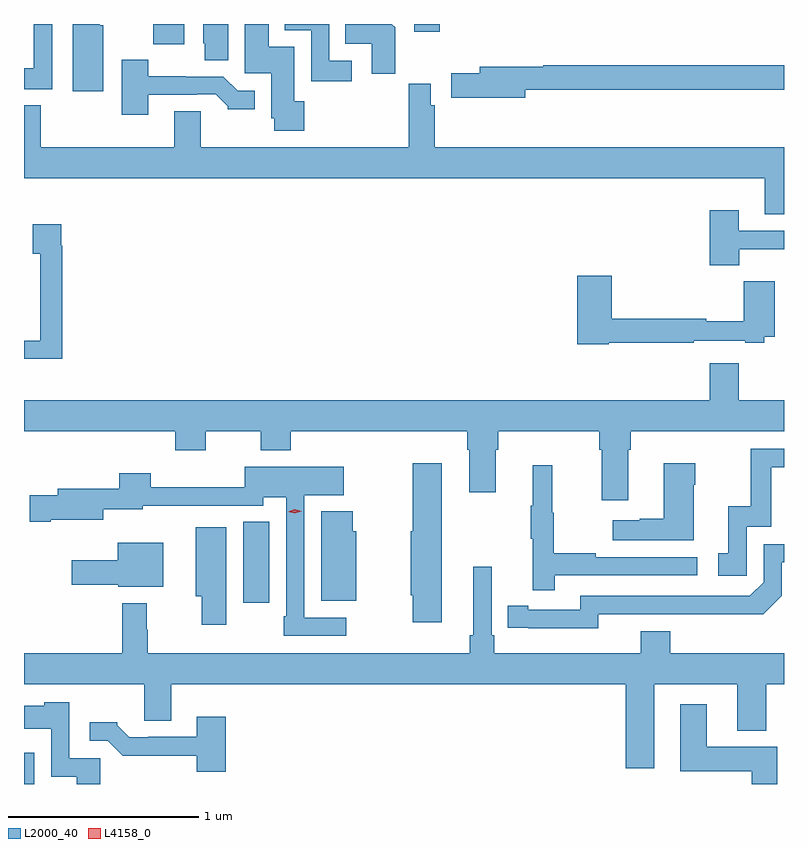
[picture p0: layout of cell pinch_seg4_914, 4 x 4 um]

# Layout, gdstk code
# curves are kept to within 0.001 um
import gdstk
lib = gdstk.Library(unit=1e-6, precision=1e-09)
def R(c, l, rs):  # rectangles x0, y0, x1, y1
    for r in rs: c.add(gdstk.rectangle(r[:2], r[2:], *l))
def P(c, l, *ps):  # polygons
    for p in ps: c.add(gdstk.Polygon(p, *l))
L2000_40 = (2000, 40)
L4158_0 = (4158, 0)

pinch_seg4_914 = lib.new_cell('pinch_seg4_914')
R(pinch_seg4_914, L2000_40, [(650.155,801.624,650.208,801.789), (651.308,802.578,651.445,803.003), (650.834,805.517,650.998,805.624), (652.208,805.584,652.343,805.624)])
P(pinch_seg4_914, L2000_40, [(651.88,805.431),(651.762,805.431),(651.762,805.624),(651.527,805.624),(651.527,805.592),(651.666,805.592),(651.666,805.323),(651.88,805.323)],
  [(650.304,805.624),(650.207,805.624),(650.207,805.39),(650.155,805.39),(650.155,805.281),(650.304,805.281)],
  [(651.229,805.624),(651.098,805.624),(651.098,805.524),(651.107,805.524),(651.107,805.432),(651.229,805.432)],
  [(652.108,805.606),(652.09,805.624),(651.847,805.624),(651.847,805.52),(651.986,805.52),(651.986,805.362),(652.108,805.362)],
  [(651.629,805.218),(651.577,805.218),(651.577,805.504),(651.442,805.504),(651.442,805.624),(651.317,805.624),(651.317,805.365),(651.455,805.365),(651.455,805.128),(651.472,805.128),(651.472,805.062),(651.629,805.062)],
  [(650.572,805.617),(650.554,805.617),(650.554,805.624),(650.411,805.624),(650.411,805.269),(650.572,805.269)],
  [(650.809,805.251),(651.065,805.251),(651.065,805.254),(651.164,805.254),(651.228,805.19),(651.228,805.175),(651.37,805.175),(651.37,805.272),(651.279,805.272),(651.204,805.347),(650.809,805.348),(650.809,805.435),(650.669,805.435),(650.669,805.146),(650.809,805.146)],
  [(652.792,805.278),(654.155,805.278),(654.155,805.406),(652.888,805.406),(652.888,805.399),(652.553,805.399),(652.553,805.365),(652.404,805.365),(652.404,805.235),(652.792,805.235)],
  [(654.155,804.976),(652.316,804.976),(652.316,805.196),(652.296,805.196),(652.296,805.309),(652.18,805.309),(652.18,804.976),(651.085,804.976),(651.085,805.166),(650.945,805.166),(650.945,804.976),(650.244,804.976),(650.244,805.196),(650.155,805.196),(650.155,804.812),(654.053,804.812),(654.053,804.622),(654.155,804.622)],
  [(653.92,804.438),(654.155,804.438),(654.155,804.537),(653.917,804.537),(653.917,804.643),(653.765,804.643),(653.765,804.353),(653.92,804.353)],
  [(650.357,804.458),(650.35,804.458),(650.35,804.571),(650.201,804.571),(650.201,804.415),(650.241,804.415),(650.241,803.958),(650.155,803.958),(650.155,803.861),(650.357,803.861)],
  [(653.232,803.946),(653.681,803.946),(653.681,803.958),(653.951,803.958),(653.951,803.946),(654.051,803.946),(654.051,803.978),(654.106,803.978),(654.106,804.271),(653.944,804.271),(653.944,804.059),(653.746,804.059),(653.746,804.074),(653.249,804.074),(653.249,804.298),(653.066,804.298),(653.066,803.938),(653.232,803.938)],
  [(653.335,803.384),(653.348,803.384),(653.348,803.48),(654.155,803.48),(654.155,803.644),(653.917,803.644),(653.917,803.839),(653.765,803.839),(653.765,803.644),(650.155,803.644),(650.155,803.48),(650.951,803.48),(650.951,803.381),(651.111,803.381),(651.111,803.48),(651.4,803.48),(651.4,803.381),(651.56,803.381),(651.56,803.48),(652.487,803.48),(652.487,803.384),(652.499,803.384),(652.499,803.16),(652.639,803.16),(652.639,803.384),(652.652,803.384),(652.652,803.48),(653.183,803.48),(653.183,803.384),(653.195,803.384),(653.195,803.118),(653.335,803.118)],
  [(653.958,802.977),(654.087,802.977),(654.087,803.292),(654.155,803.292),(654.155,803.388),(653.979,803.388),(653.979,803.086),(653.861,803.086),(653.861,802.839),(653.808,802.839),(653.808,802.719),(653.958,802.719)],
  [(652.354,803.311),(652.201,803.311),(652.201,802.953),(652.19,802.953),(652.19,802.617),(652.201,802.617),(652.201,802.476),(652.354,802.476)],
  [(653.68,803.198),(653.688,803.198),(653.688,803.311),(653.522,803.311),(653.522,803.021),(653.396,803.021),(653.396,803.011),(653.253,803.011),(653.253,802.907),(653.68,802.907)],
  [(652.949,802.722),(653.698,802.722),(653.698,802.818),(653.165,802.818),(653.165,802.838),(652.942,802.838),(652.942,803.052),(652.934,803.052),(652.934,803.302),(652.832,803.302),(652.832,803.089),(652.821,803.089),(652.821,802.915),(652.832,802.915),(652.832,802.644),(652.949,802.644)],
  [(651.85,802.5),(651.63,802.5),(651.63,803.144),(651.838,803.144),(651.838,803.293),(651.318,803.293),(651.318,803.186),(650.822,803.186),(650.822,803.26),(650.657,803.26),(650.657,803.179),(650.333,803.179),(650.333,803.145),(650.184,803.145),(650.184,803.003),(650.296,803.003),(650.296,803.015),(650.572,803.015),(650.572,803.069),(650.781,803.069),(650.781,803.088),(651.414,803.088),(651.414,803.132),(651.534,803.132),(651.534,802.507),(651.522,802.507),(651.522,802.404),(651.85,802.404)],
  [(651.904,802.953),(651.886,802.953),(651.886,803.059),(651.719,803.059),(651.719,802.589),(651.904,802.589)],
  [(651.22,802.975),(651.059,802.975),(651.059,802.613),(651.091,802.613),(651.091,802.461),(651.22,802.461)],
  [(650.887,802.894),(650.648,802.894),(650.648,802.801),(650.406,802.801),(650.406,802.672),(650.652,802.672),(650.652,802.661),(650.887,802.661)],
  [(653.178,802.518),(654.046,802.517),(654.144,802.614),(654.144,802.791),(654.155,802.791),(654.155,802.887),(654.048,802.887),(654.048,802.686),(653.976,802.614),(653.082,802.614),(653.082,802.542),(652.81,802.542),(652.81,802.562),(652.702,802.562),(652.702,802.446),(653.178,802.445)],
  [(653.473,802.148),(653.909,802.148),(653.909,801.905),(654.062,801.905),(654.062,802.148),(654.155,802.148),(654.155,802.312),(653.555,802.312),(653.555,802.429),(653.402,802.429),(653.402,802.312),(652.631,802.312),(652.631,802.408),(652.617,802.408),(652.617,802.768),(652.52,802.768),(652.52,802.408),(652.501,802.408),(652.501,802.312),(650.807,802.312),(650.807,802.436),(650.8,802.436),(650.8,802.576),(650.671,802.576),(650.671,802.312),(650.155,802.312),(650.155,802.148),(650.789,802.148),(650.789,801.958),(650.929,801.958),(650.929,802.148),(653.321,802.148),(653.321,801.707),(653.473,801.707)],
  [(650.557,801.759),(650.394,801.759),(650.394,802.054),(650.262,802.054),(650.262,802.036),(650.155,802.036),(650.155,801.914),(650.298,801.914),(650.298,801.662),(650.432,801.662),(650.432,801.624),(650.557,801.624)],
  [(654.119,801.82),(653.749,801.82),(653.749,802.045),(653.609,802.045),(653.609,801.692),(653.984,801.692),(653.984,801.624),(654.119,801.624)],
  [(651.218,801.979),(651.065,801.979),(651.065,801.873),(650.809,801.873),(650.809,801.87),(650.71,801.87),(650.646,801.934),(650.646,801.949),(650.502,801.949),(650.502,801.852),(650.595,801.852),(650.674,801.774),(651.063,801.774),(651.063,801.689),(651.218,801.689)])
P(pinch_seg4_914, L4158_0, [(651.581,803.049),(651.546,803.058),(651.546,803.058),(651.546,803.058),(651.581,803.069),(651.616,803.06),(651.616,803.06),(651.616,803.06)])

lib.write_gds('pinch_seg4_914.gds')
